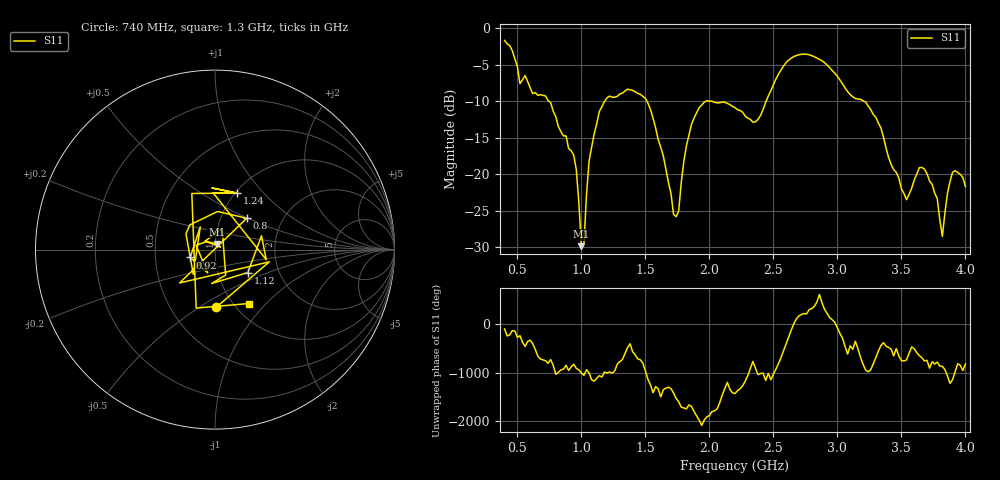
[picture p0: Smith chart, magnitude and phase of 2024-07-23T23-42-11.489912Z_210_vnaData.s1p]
!Created with skrf (http://scikit-rf.org).
# Hz S RI R 50.0
!freq ReS11 ImS11
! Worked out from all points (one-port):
!   181 points, 400 MHz to 4 GHz, reference 50 ohm
!   lowest |S11| = -29.8 dB at 1 GHz (marker M1), VSWR 1.07, Z = 50.9 + j3.13 ohm
!   |S11| at or under -10 dB: 748.3 MHz to 1.18 GHz (432.1 MHz wide, 44.8 % of centre); 1.513 GHz to 1.97 GHz (456.9 MHz wide, 26.2 % of centre); 3.211 GHz to end of sweep (the widest 3 of 4)
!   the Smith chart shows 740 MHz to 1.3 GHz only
!   S11 on the Smith chart (normalised r, x): 740 MHz: 0.83, -0.59; 800 MHz: 1.33, +0.49; 920 MHz: 0.75, -0.07; 1.12 GHz: 1.39, -0.37; 1.24 GHz: 1.02, +0.73; 1.3 GHz: 1.17, -0.81
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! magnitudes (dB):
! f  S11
! 400 MHz  -1.6
! 520 MHz  -7.6
! 740 MHz  -9.9
! 800 MHz  -12.1
! 860 MHz  -14.7
! 920 MHz  -16.8
! 960 MHz  -19.3
! 1 GHz  -29.8
! 1.02 GHz  -29.4
! 1.06 GHz  -18.2
! 1.12 GHz  -13.0
! 1.24 GHz  -9.4
! 1.3 GHz  -9.0
! 1.52 GHz  -10.2
! 1.72 GHz  -25.5
! 1.76 GHz  -25.0
! 1.82 GHz  -16.1
! 1.92 GHz  -10.9
! 2.2 GHz  -10.8
! 2.36 GHz  -12.8
! 2.66 GHz  -3.8
! 3.1 GHz  -9.1
! 3.3 GHz  -12.2
! 3.56 GHz  -22.7
! 3.68 GHz  -19.3
! 3.82 GHz  -28.5
! 3.9 GHz  -19.7
! 4 GHz  -21.6
